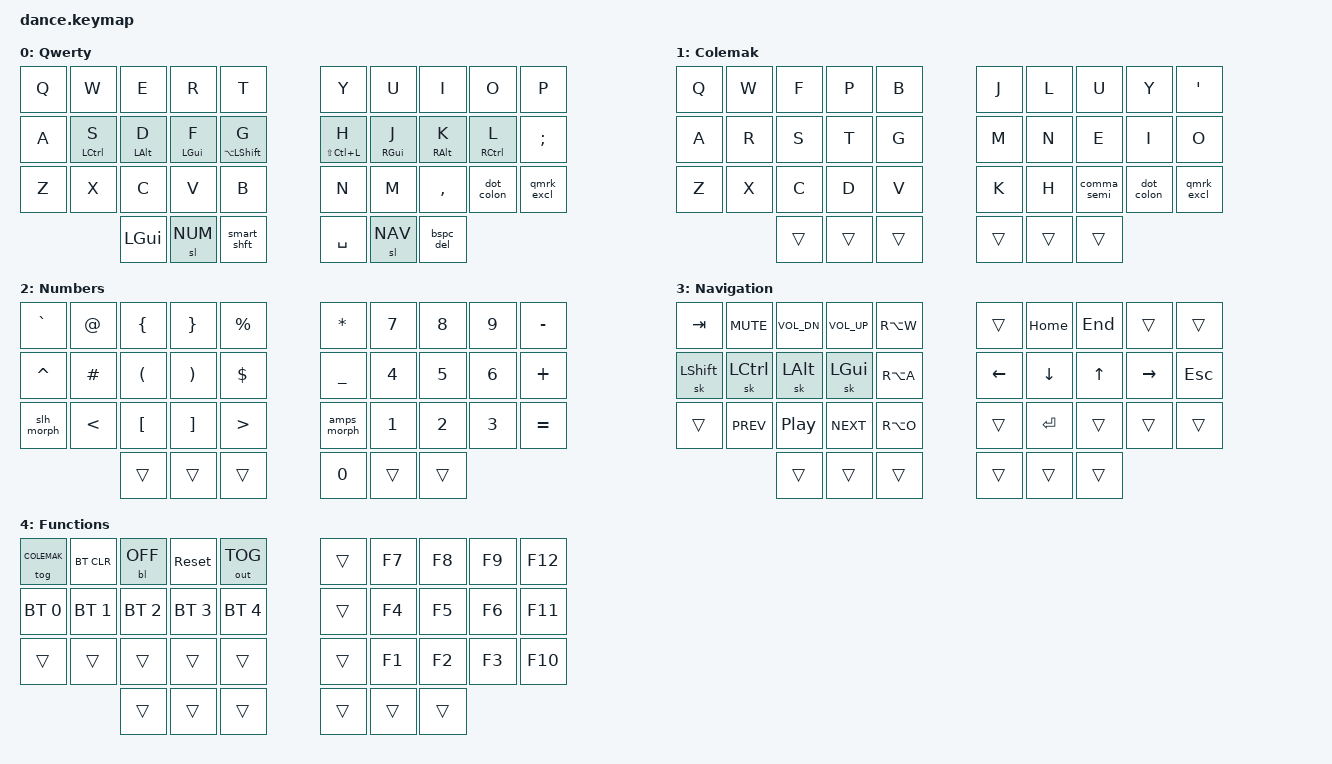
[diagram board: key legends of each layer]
/*
 * Copyright (c) 2020 The ZMK Contributors
 *
 * SPDX-License-Identifier: MIT
 */
/* #include <dt-bindings/zmk/mouse.h> */

#include <behaviors/mouse_keys.dtsi>
#include <behaviors.dtsi>
#include <dt-bindings/zmk/backlight.h>
#include <dt-bindings/zmk/bt.h>
#include <dt-bindings/zmk/keys.h>
#include <dt-bindings/zmk/mouse.h>
#include <dt-bindings/zmk/outputs.h>

#define DEFAULT 0
#define COLEMAK 1
#define NUM 2
#define NAV 3
#define FUN 4

/ {
    conditional_layers {
        compatible = "zmk,conditional-layers";

        tri_layer {
            if-layers = <NUM NAV>;
            then-layer = <FUN>;
        };
    };

    behaviors {
        bspc_del: backspace_delete {
            compatible = "zmk,behavior-mod-morph";
            label = "BACKSPACE_DELETE";
            #binding-cells = <0>;
            bindings = <&kp BACKSPACE>, <&kp DELETE>;

            mods = <(MOD_LSFT|MOD_RSFT)>;
            keep-mods = <(MOD_RSFT)>;
        };

        smart_shft: smart_shift {
            compatible = "zmk,behavior-mod-morph";
            label = "SMART_SHIFT";
            #binding-cells = <0>;
            bindings = <&sk LSHFT>, <&caps_word>;

            mods = <(MOD_LSFT)>;
        };

        comma_semi: comma_semi {
            compatible = "zmk,behavior-mod-morph";
            label = "COMMA_SEMI";
            #binding-cells = <0>;
            bindings = <&kp COMMA>, <&kp SEMI>;

            mods = <(MOD_LSFT)>;
        };

        dot_colon: dot_colon {
            compatible = "zmk,behavior-mod-morph";
            label = "DOT_COLON";
            #binding-cells = <0>;
            bindings = <&kp DOT>, <&kp COLON>;

            mods = <(MOD_LSFT)>;
        };

        qmrk_excl: qmrk_excl {
            compatible = "zmk,behavior-mod-morph";
            label = "QUESTION_EXCLAMATION";
            #binding-cells = <0>;
            bindings = <&kp QMARK>, <&kp EXCL>;

            mods = <(MOD_LSFT)>;
        };

        slh_morph: slh_morph {
            compatible = "zmk,behavior-mod-morph";
            label = "SLASH_MORPH";
            #binding-cells = <0>;
            bindings = <&kp FSLH>, <&kp BSLH>;

            mods = <(MOD_LSFT)>;
        };

        amps_morph: amps_morph {
            compatible = "zmk,behavior-mod-morph";
            label = "AMPERSAND_MORPH";
            #binding-cells = <0>;
            bindings = <&kp AMPS>, <&kp PIPE>;

            mods = <(MOD_LSFT)>;
        };

        hold_tap: hold_tap {
            compatible = "zmk,behavior-hold-tap";
            label = "HOLD_TAP";
            bindings = <&kp>, <&kp>;

            #binding-cells = <2>;
            tapping-term-ms = <200>;
            flavor = "tap-preferred";
        };
    };

    combos {
        compatible = "zmk,combos";

        cmb_enter {
            bindings = <&kp RET>;
            key-positions = <27 28>;
        };

        cmb_bspace {
            bindings = <&kp BACKSPACE>;
            key-positions = <18 17>;
        };

        cmb_del {
            bindings = <&kp DELETE>;
            key-positions = <8 7>;
            layers = <0>;
        };

        cmb_esc {
            bindings = <&kp ESCAPE>;
            key-positions = <21 22>;
        };

        cmb_question {
            bindings = <&kp QUESTION>;
            key-positions = <6 7>;
        };

        cmb_comma {
            bindings = <&kp COMMA>;
            key-positions = <2 3>;
        };

        cmb_squote {
            bindings = <&kp SINGLE_QUOTE>;
            key-positions = <12 13>;
        };

        cmb_dquote {
            bindings = <&kp DOUBLE_QUOTES>;
            key-positions = <22 23>;
        };

        cmb_bslash {
            bindings = <&kp BACKSLASH>;
            key-positions = <16 17>;
        };

        cmb_ctrl_alt_del {
            bindings = <&kp LC(LA(DELETE))>;
            key-positions = <20 29>;
        };

        cmb_minus {
            bindings = <&kp MINUS>;
            key-positions = <4 5>;
        };

        cmb_equal {
            bindings = <&kp EQUAL>;
            key-positions = <14 15>;
        };

        cmb_underscore {
            bindings = <&kp UNDERSCORE>;
            key-positions = <24 25>;
        };

        cmb_capsword {
            bindings = <&caps_word>;
            key-positions = <13 16>;
        };

        cmb_tab {
            bindings = <&kp TAB>;
            key-positions = <1 2>;
        };

        cmb_dot {
            bindings = <&kp DOT>;
            key-positions = <11 12>;
        };

        cmb_grave {
            bindings = <&kp GRAVE>;
            key-positions = <4 3>;
        };

        cmb_mouse_left {
            bindings = <&mkp LCLK>;
            key-positions = <14 13>;
        };

        cmb_mouse_right {
            bindings = <&mkp RCLK>;
            key-positions = <23 24>;
        };
    };

    keymap {
        compatible = "zmk,keymap";

        default_layer {
            bindings = <
&kp Q  &kp W                     &kp E                 &kp R                 &kp T                       &kp Y                  &kp U                  &kp I                  &kp O                      &kp P
&kp A  &hold_tap LEFT_CONTROL S  &hold_tap LEFT_ALT D  &hold_tap LEFT_GUI F  &hold_tap LA(LEFT_SHIFT) G  &hold_tap LS(LC(L)) H  &hold_tap RIGHT_GUI J  &hold_tap RIGHT_ALT K  &hold_tap RIGHT_CONTROL L  &kp SEMI
&kp Z  &kp X                     &kp C                 &kp V                 &kp B                       &kp N                  &kp M                  &kp COMMA              &dot_colon                 &qmrk_excl
                                 &kp LGUI              &sl NUM               &smart_shft                 &kp SPACE              &sl NAV                &bspc_del
            >;

            label = "Qwerty";
        };

        colemak_layer {
            bindings = <
&kp Q  &kp W  &kp F   &kp P   &kp B   &kp J   &kp L   &kp U        &kp Y       &kp APOS
&kp A  &kp R  &kp S   &kp T   &kp G   &kp M   &kp N   &kp E        &kp I       &kp O
&kp Z  &kp X  &kp C   &kp D   &kp V   &kp K   &kp H   &comma_semi  &dot_colon  &qmrk_excl
              &trans  &trans  &trans  &trans  &trans  &trans
            >;

            label = "Colemak";
        };

        num_layer {
            bindings = <
&kp GRAVE   &kp AT    &kp LBRC  &kp RBRC  &kp PRCNT  &kp STAR     &kp N7  &kp N8  &kp N9  &kp MINUS
&kp CARET   &kp HASH  &kp LPAR  &kp RPAR  &kp DLLR   &kp UNDER    &kp N4  &kp N5  &kp N6  &kp PLUS
&slh_morph  &kp LT    &kp LBKT  &kp RBKT  &kp GT     &amps_morph  &kp N1  &kp N2  &kp N3  &kp EQUAL
                      &trans    &trans    &trans     &kp N0       &trans  &trans
            >;

            label = "Numbers";
        };

        nav_layer {
            bindings = <
&kp TAB    &kp K_MUTE  &kp C_VOL_DN  &kp C_VOL_UP  &kp RA(W)  &trans    &kp HOME  &kp END  &trans     &trans
&sk LSHFT  &sk LCTRL   &sk LALT      &sk LGUI      &kp RA(A)  &kp LEFT  &kp DOWN  &kp UP   &kp RIGHT  &kp ESC
&trans     &kp C_PREV  &kp C_PP      &kp C_NEXT    &kp RA(O)  &trans    &kp RET   &trans   &trans     &trans
                       &trans        &trans        &trans     &trans    &trans    &trans
            >;

            label = "Navigation";
        };

        fun_layer {
            bindings = <
&tog COLEMAK  &bt BT_CLR    &bl BL_OFF    &sys_reset    &out OUT_TOG  &trans  &kp F7  &kp F8  &kp F9  &kp F12
&bt BT_SEL 0  &bt BT_SEL 1  &bt BT_SEL 2  &bt BT_SEL 3  &bt BT_SEL 4  &trans  &kp F4  &kp F5  &kp F6  &kp F11
&trans        &trans        &trans        &trans        &trans        &trans  &kp F1  &kp F2  &kp F3  &kp F10
                            &trans        &trans        &trans        &trans  &trans  &trans
            >;

            label = "Functions";
        };
    };
};
